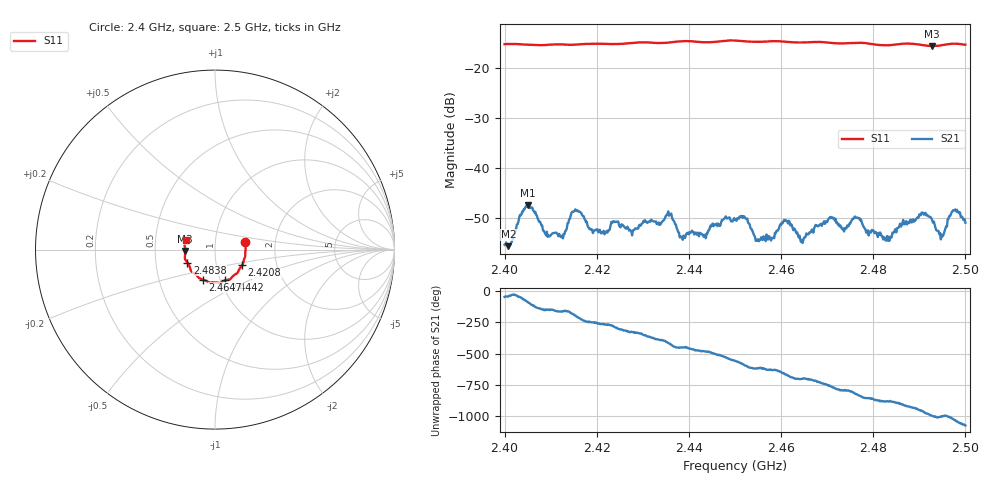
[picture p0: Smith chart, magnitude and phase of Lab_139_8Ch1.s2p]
# Hz S RI R 50
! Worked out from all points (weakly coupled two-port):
!   601 points, 2.4 GHz to 2.5 GHz, reference 50 ohm
!   highest |S21| = -47.50 dB at 2.405 GHz (marker M1); lowest = -55.6 dB at 2.4008 GHz (marker M2)
!   lowest |S11| = -15.6 dB at 2.4927 GHz (marker M3), VSWR 1.40, Z = 35.8 - j0.512 ohm
!   |S11| at or under -10 dB: start of sweep to end of sweep
!   S12 and S22 are empty: the file has one direction only
!   S11 on the Smith chart (normalised r, x): 2.4 GHz: 1.40, +0.12; 2.4208 GHz: 1.33, -0.24; 2.4442 GHz: 1.05, -0.37; 2.4647 GHz: 0.83, -0.29; 2.4838 GHz: 0.73, -0.11; 2.5 GHz: 0.72, +0.08
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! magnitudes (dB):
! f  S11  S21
! 2.4 GHz  -15.3  -55.4
! 2.4008 GHz  -15.2  -55.6
! 2.405 GHz  -15.4  -47.5
! 2.4095 GHz  -15.4  -53.5
! 2.4167 GHz  -15.2  -49.1
! 2.4208 GHz  -15.2  -53.0
! 2.4333 GHz  -15.0  -51.3
! 2.4357 GHz  -14.9  -49.5
! 2.4385 GHz  -14.6  -53.8
! 2.4442 GHz  -14.9  -52.6
! 2.45 GHz  -14.5  -50.4
! 2.455 GHz  -14.8  -54.3
! 2.4612 GHz  -14.8  -50.6
! 2.4647 GHz  -14.9  -55.0
! 2.4667 GHz  -14.8  -52.3
! 2.4765 GHz  -15.0  -49.9
! 2.4833 GHz  -15.4  -53.8
! 2.4838 GHz  -15.4  -54.0
! 2.4927 GHz  -15.6  -50.1
! 2.4948 GHz  -15.5  -53.3
! 2.4973 GHz  -15.1  -48.5
! 2.5 GHz  -15.3  -51.0
